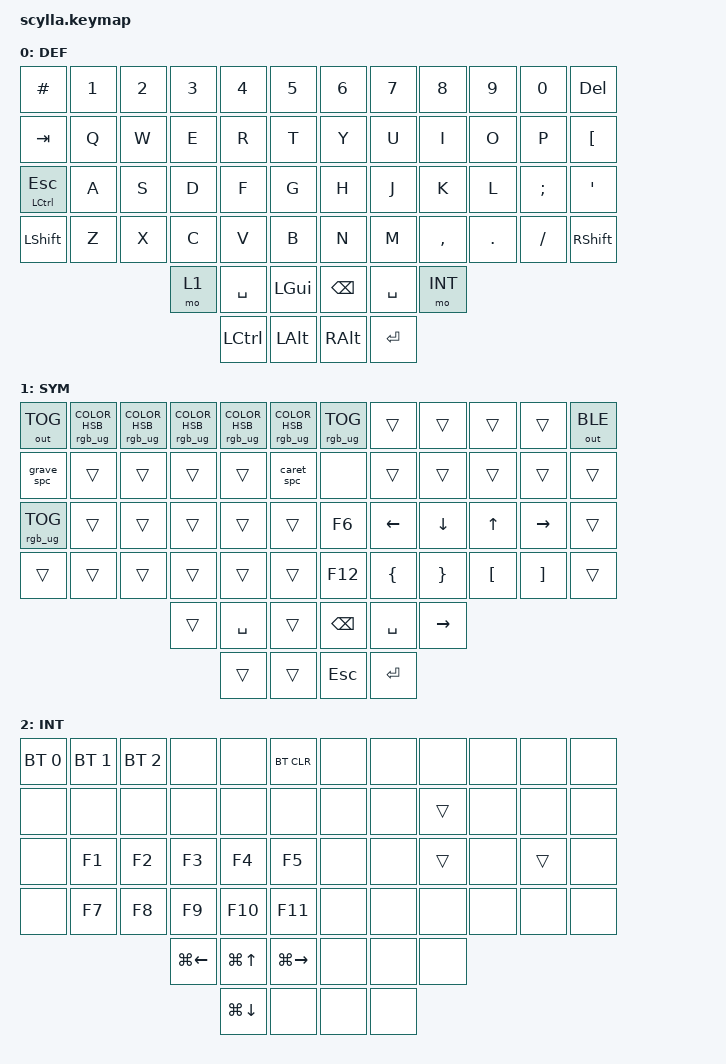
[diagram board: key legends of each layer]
#include <behaviors.dtsi>
#include <dt-bindings/zmk/bt.h>
#include <dt-bindings/zmk/keys.h>
#include <dt-bindings/zmk/outputs.h>
#include <dt-bindings/zmk/rgb.h>

#define DEF 0
#define SYM 1
#define INT 2

/ {
    macros {
        sqt_spc: sqt_spc {
            label = "ZM_sqt_spc";
            compatible = "zmk,behavior-macro";
            #binding-cells = <0>;
            tap-ms = <30>;
            bindings = <&kp SQT &kp SPACE>;
        };

        grave_spc: grave_spc {
            label = "ZM_grave_spc";
            compatible = "zmk,behavior-macro";
            #binding-cells = <0>;
            tap-ms = <30>;
            bindings = <&kp GRAVE &kp SPACE>;
        };

        tilde_spc: tilde_spc {
            label = "ZM_tilde_spc";
            compatible = "zmk,behavior-macro";
            #binding-cells = <0>;
            tap-ms = <30>;
            bindings = <&kp TILDE &kp SPACE>;
        };

        caret_spc: caret_spc {
            label = "ZM_tilde_spc";
            compatible = "zmk,behavior-macro";
            #binding-cells = <0>;
            tap-ms = <30>;
            bindings = <&kp CARET &kp SPACE>;
        };
    };
};

/ {
    keymap {
        compatible = "zmk,keymap";

        DEF {
            bindings = <
&kp HASH      &kp N1  &kp N2  &kp N3  &kp N4     &kp N5          &kp N6         &kp N7      &kp N8     &kp N9   &kp N0     &kp DEL
&kp TAB       &kp Q   &kp W   &kp E   &kp R      &kp T           &kp Y          &kp U       &kp I      &kp O    &kp P      &kp LBKT
&mt LCTL ESC  &kp A   &kp S   &kp D   &kp F      &kp G           &kp H          &kp J       &kp K      &kp L    &kp SEMI   &kp SQT
&kp LSHIFT    &kp Z   &kp X   &kp C   &kp V      &kp B           &kp N          &kp M       &kp COMMA  &kp DOT  &kp SLASH  &kp RSHFT
                              &mo 1   &kp SPACE  &kp LEFT_GUI    &kp BACKSPACE  &kp SPACE   &mo INT
                                      &kp LCTRL  &kp LALT        &kp RALT       &kp RETURN
            >;
        };

        SYM {
            bindings = <
&out OUT_TOG     &rgb_ug RGB_COLOR_HSB(0,63,42)  &rgb_ug RGB_COLOR_HSB(54,54,43)  &rgb_ug RGB_COLOR_HSB(111,55,42)  &rgb_ug RGB_COLOR_HSB(230,56,49)  &rgb_ug RGB_COLOR_HSB(297,56,47)    &rgb_ug RGB_TOG  &trans          &trans           &trans            &trans             &out OUT_BLE
&grave_spc       &trans                          &trans                           &trans                            &trans                            &caret_spc                          &none            &trans          &trans           &trans            &trans             &trans
&rgb_ug RGB_TOG  &trans                          &trans                           &trans                            &trans                            &trans                              &kp F6           &kp LEFT        &kp DOWN         &kp UP            &kp RIGHT          &trans
&trans           &trans                          &trans                           &trans                            &trans                            &trans                              &kp F12          &kp LEFT_BRACE  &kp RIGHT_BRACE  &kp LEFT_BRACKET  &kp RIGHT_BRACKET  &trans
                                                                                  &trans                            &kp SPACE                         &trans                              &kp BACKSPACE    &kp SPACE       &kp RIGHT
                                                                                                                    &trans                            &trans                              &kp ESC          &kp RETURN
            >;
        };

        INT {
            bindings = <
&bt BT_SEL 0  &bt BT_SEL 1  &bt BT_SEL 2  &none         &none         &bt BT_CLR       &none  &none  &none   &none  &none   &none
&none         &none         &none         &none         &none         &none            &none  &none  &trans  &none  &none   &none
&none         &kp F1        &kp F2        &kp F3        &kp F4        &kp F5           &none  &none  &trans  &none  &trans  &none
&none         &kp F7        &kp F8        &kp F9        &kp F10       &kp F11          &none  &none  &none   &none  &none   &none
                                          &kp LG(LEFT)  &kp LG(UP)    &kp LG(RIGHT)    &none  &none  &none
                                                        &kp LG(DOWN)  &none            &none  &none
            >;
        };
    };
};
